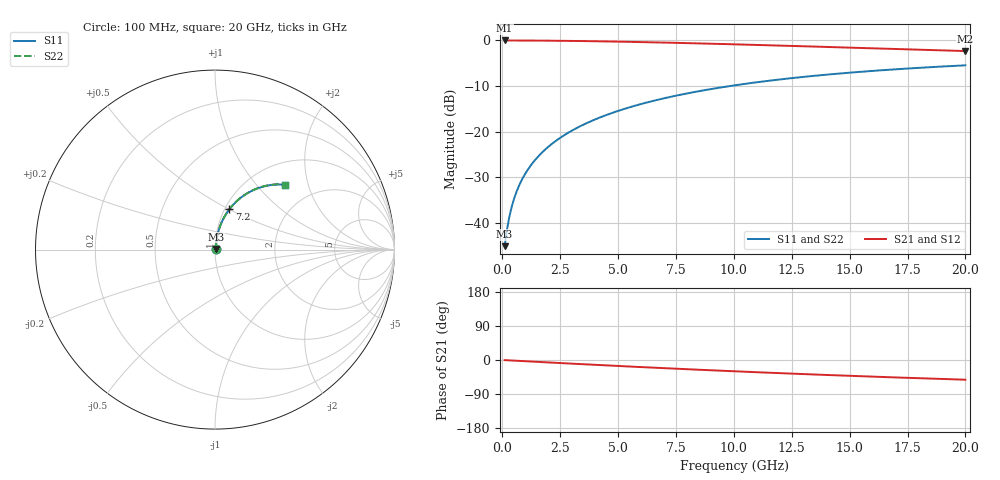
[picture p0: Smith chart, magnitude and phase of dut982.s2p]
! Touchstone file exported from HFSS 2024.1.0
!  File:  C:/UserFiles/LocalFiles/RDL_TSV_Batchsim/temp_RDL_bottom_982_1779943526.aedt
!  Generated:  12:47:49 PM May 28, 2026
!  Design:  RDL_bottom
!  Project:  temp_RDL_bottom_982_1779943526
!  Setup:  Setup1
!  Solution:  Sweep
! Variables:
!  dtsv = 10.80580581um
!  hbump = 3um
!  htsv = 90.71um
!  ldown = 681.23um
!  lrdl = 100um
!  p = 40
!  p1 = 59.82um
!  rhole = 1um
!  t = 450um
!  tdown = 3.92um
!  trdl = 3.915915916um
!  wdown = 14.79um
!  wrdl = 20um
# GHz S MA R 50.000000
! Terminal data exported
! Port[1] = RDL1_T1
! Port[2] = RDL1_T2
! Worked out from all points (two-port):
!   200 points, 100 MHz to 20 GHz, reference 50 ohm
!   highest |S21| = -0.04 dB at 100 MHz (marker M1); lowest = -2.4 dB at 20 GHz (marker M2)
!   |S21| within 3 dB of the highest: start of sweep to end of sweep
!   lowest |S11| = -45.1 dB at 100 MHz (marker M3), VSWR 1.01, Z = 50.4 + j0.358 ohm
!   |S11| at or under -10 dB: start of sweep to 9.872 GHz
!   |S22| runs from -45.1 to -5.5 dB; largest |S21 - S12| = 9.4e-15
!   S11 on the Smith chart (normalised r, x): 100 MHz: 1.01, +0.01; 7.2 GHz: 1.05, +0.50; 20 GHz: 1.43, +1.44
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0.1  0.005533 39.9  0.9958 -0.3  0.9958 -0.3  0.005533 39.9
! Gamma 0 0 0 0
! Port Impedance 50 0 50 0
0.2  0.008309 58.2  0.9956 -0.7  0.9956 -0.7  0.008309 58.2
0.3  0.01147 66.6  0.9955 -1.0  0.9955 -1.0  0.01147 66.6
0.4  0.01474 71.1  0.9953 -1.3  0.9953 -1.3  0.01474 71.1
0.5  0.01804 73.9  0.9951 -1.6  0.9951 -1.6  0.01804 73.9
0.6  0.02136 75.8  0.9949 -2.0  0.9949 -2.0  0.02136 75.8
0.8  0.02803 78.2  0.9944 -2.6  0.9944 -2.6  0.02803 78.2
1.1  0.03809 79.9  0.9936 -3.6  0.9936 -3.6  0.03809 79.9
1.5  0.05156 80.7  0.9923 -4.9  0.9923 -4.9  0.05156 80.7
1.8  0.06168 80.8  0.9911 -5.8  0.9911 -5.8  0.06168 80.8
2.1  0.0718 80.7  0.9896 -6.8  0.9896 -6.8  0.0718 80.7
2.7  0.09199 80.0  0.9862 -8.7  0.9862 -8.7  0.09199 80.0
3.5  0.1187 78.6  0.9805 -11.2  0.9805 -11.2  0.1188 78.7
4.2  0.142 77.2  0.9745 -13.3  0.9745 -13.3  0.142 77.3
5  0.1682 75.5  0.9668 -15.8  0.9668 -15.8  0.1682 75.6
6.8  0.2255 71.4  0.9464 -21.0  0.9464 -21.0  0.2256 71.4
7.2  0.2379 70.4  0.9414 -22.2  0.9414 -22.2  0.238 70.5
8.6  0.2799 67.1  0.923 -26.0  0.923 -26.0  0.2801 67.2
10.1  0.3225 63.6  0.9022 -30.0  0.9022 -30.0  0.3228 63.6
13.4  0.4063 56.1  0.8543 -38.1  0.8543 -38.1  0.4066 56.2
16.7  0.4756 49.1  0.8067 -45.4  0.8067 -45.4  0.4761 49.2
20  0.5314 42.9  0.7619 -52.0  0.7619 -52.0  0.532 43.0
